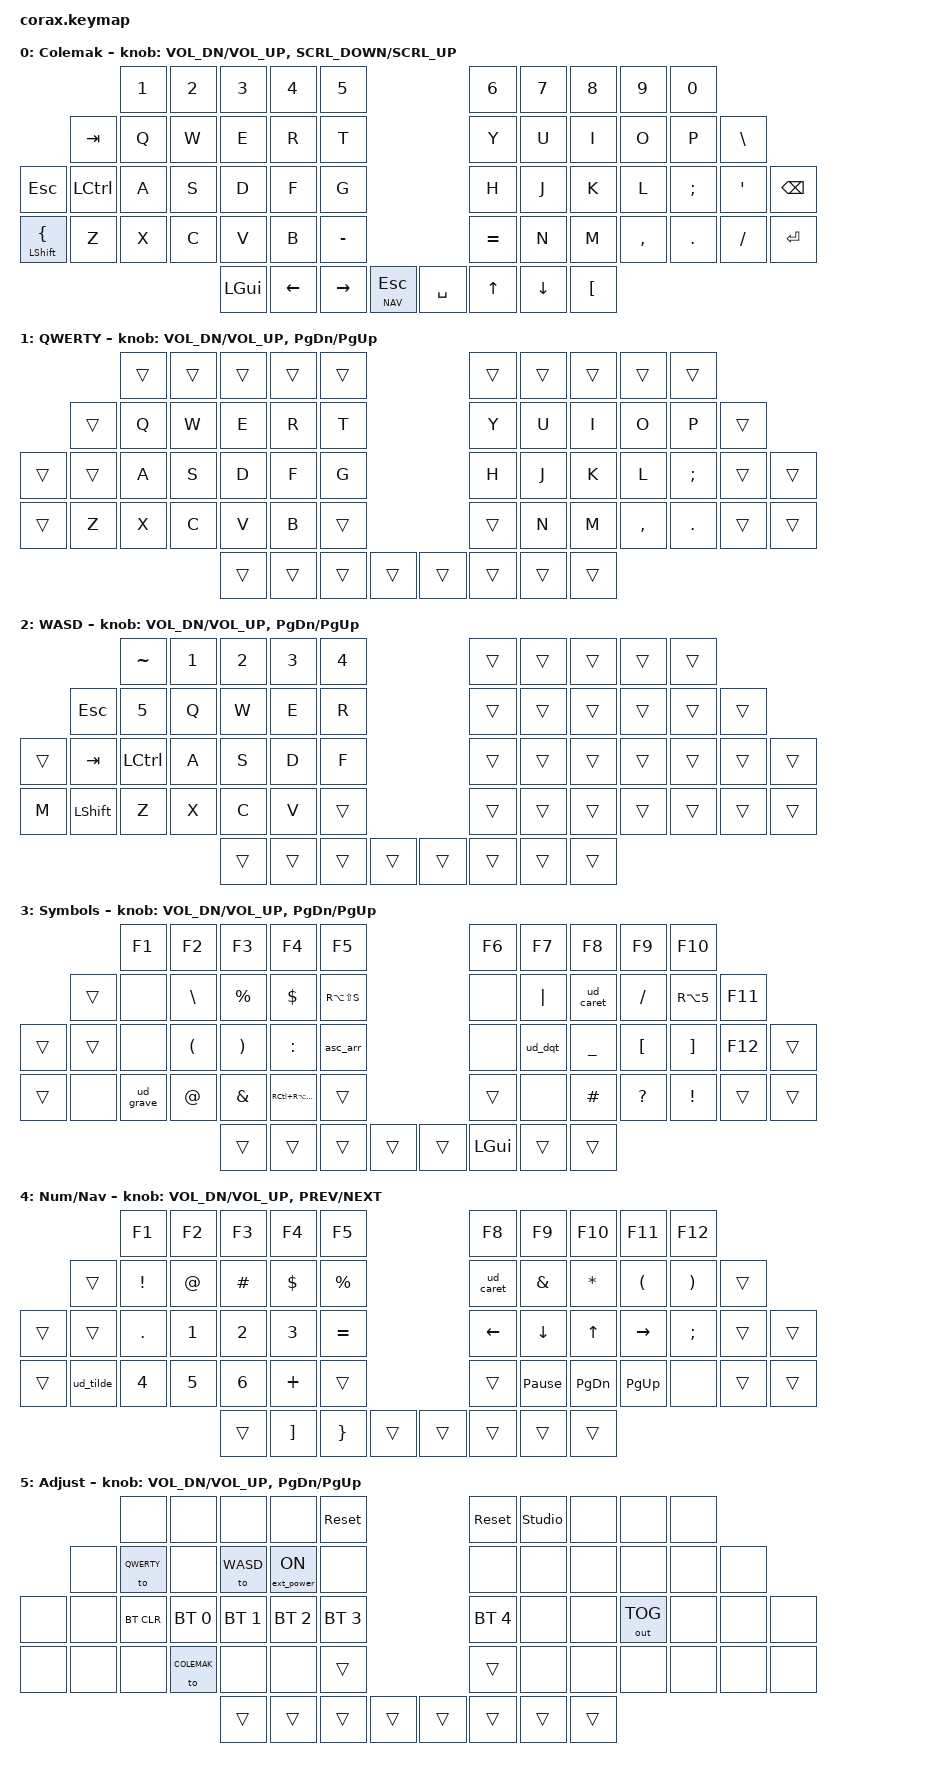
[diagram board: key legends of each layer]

#include <behaviors.dtsi>
#include <dt-bindings/zmk/bt.h>
#include <dt-bindings/zmk/keys.h>
#include <dt-bindings/zmk/outputs.h>
#include <dt-bindings/zmk/ext_power.h>

#define ZMK_POINTING_DEFAULT_SCRL_VAL 20    // default: 10
#include <dt-bindings/zmk/pointing.h>

#define COLEMAK 0
#define QWERTY 1
#define WASD 2
#define SYM 3
#define NAV 4
#define ADJUST 5

// additional caps word keys
&caps_word {
    continue-list = <UNDERSCORE MINUS LS(MINUS) UP DOWN LEFT RIGHT BSPC DEL>;
};

// mouse scroll speed
&msc {
    acceleration-exponent = <0>;
    time-to-max-speed-ms = <0>;
    delay-ms = <0>;
};

/ {

    behaviors {
        lthp: layer_tap_hold_preferred {
            compatible = "zmk,behavior-hold-tap";
            #binding-cells = <2>;
            flavor = "hold-preferred";
            tapping-term-ms = <200>;
            bindings = <&mo>, <&kp>;
        };

        mthp: mod_tap_hold_preferred {
            compatible = "zmk,behavior-hold-tap";
            #binding-cells = <2>;
            flavor = "hold-preferred";
            tapping-term-ms = <200>;
            bindings = <&kp>, <&kp>;
        };

        inc_dec_msc: sensor_rotation_scroll {
            compatible = "zmk,behavior-sensor-rotate-var";
            #sensor-binding-cells = <2>;
            bindings = <&msc>, <&msc>;
            tap-ms = <200>;
        };
    };

    macros {
        // undead `
        ud_grave: ud_grave {
            compatible = "zmk,behavior-macro";
            #binding-cells = <0>;
            wait-ms = <10>;
            tap-ms = <10>;
            bindings = <&kp GRAVE &kp SPACE>;
        };

        // undead ~
        ud_tilde: ud_tilde {
            compatible = "zmk,behavior-macro";
            #binding-cells = <0>;
            wait-ms = <10>;
            tap-ms = <10>;
            bindings = <&kp TILDE &kp SPACE>;
        };

        // undead ^
        ud_caret: ud_caret {
            compatible = "zmk,behavior-macro";
            #binding-cells = <0>;
            wait-ms = <10>;
            tap-ms = <10>;
            bindings = <&kp CARET &kp SPACE>;
        };

        // undead '
        ud_sqt: ud_sqt {
            compatible = "zmk,behavior-macro";
            #binding-cells = <0>;
            wait-ms = <10>;
            tap-ms = <10>;
            bindings = <&kp SQT &kp SPACE>;
        };

        // undead "
        ud_dqt: ud_dqt {
            compatible = "zmk,behavior-macro";
            #binding-cells = <0>;
            wait-ms = <10>;
            tap-ms = <10>;
            bindings = <&kp LS(SQT) &kp SPACE>;
        };

        // ascii arrow ->
        asc_arr: asc_arr {
            compatible = "zmk,behavior-macro";
            #binding-cells = <0>;
            wait-ms = <10>;
            tap-ms = <10>;
            bindings = <&kp MINUS &kp LS(DOT)>;
        };

        // ctrl + shift
        ctrl_shft: ctrl_shft {
            compatible = "zmk,behavior-macro";
            #binding-cells = <0>;
            bindings = <&macro_press &kp LCTRL &kp LSHFT>
            , <&macro_pause_for_release>
            , <&macro_release &kp LCTRL &kp LSHFT>
            ;
        };

    };

    combos {
        compatible = "zmk,combos";

        gm_capsword {
            bindings = <&caps_word>;
            // caps on G+M
            key-positions = <28 29>;
        };

        sticky_adjust {
            bindings = <&sl ADJUST>;
            // sticky adjust layer on LALT+RALT
            key-positions = <51 56>;
        };
    };

    keymap {
        compatible = "zmk,keymap";

        colemak_layer {
            display-name = "Colemak";
            bindings = <
                         &kp N1  &kp N2  &kp N3    &kp N4    &kp N5                                &kp N6       &kp N7    &kp N8     &kp N9   &kp N0
         &kp TAB         &kp Q   &kp W   &kp E     &kp R     &kp T                                 &kp Y        &kp U     &kp I      &kp O    &kp P      &kp BSLH
&kp ESC  &kp LCTRL       &kp A   &kp S   &kp D     &kp F     &kp G                                 &kp H        &kp J     &kp K      &kp L    &kp SEMI   &kp APOS         &kp BSPC
         &mt LSHFT LBRC  &kp Z   &kp X   &kp C     &kp V     &kp B         &kp MINUS    &kp EQUAL  &kp N	&kp M     &kp COMMA  &kp DOT  &kp FSLH   &kp ENTER
                                         &kp LGUI  &kp LEFT  &kp RIGHT     &lt NAV ESC  &kp SPACE  &kp UP       &kp DOWN  &kp LBKT
            >;

            sensor-bindings = <&inc_dec_kp C_VOL_DN C_VOL_UP &inc_dec_msc SCRL_DOWN SCRL_UP>;
        };

        qwerty_layer {
            display-name = "QWERTY";
            bindings = <
                &trans &trans  &trans  &trans  &trans                  &trans  &trans  &trans     &trans   &trans
        &trans  &kp Q  &kp W   &kp E   &kp R   &kp T                   &kp Y   &kp U   &kp I      &kp O    &kp P     &trans
&trans  &trans  &kp A  &kp S   &kp D   &kp F   &kp G                   &kp H   &kp J   &kp K      &kp L    &kp SEMI  &trans  &trans
        &trans  &kp Z  &kp X   &kp C   &kp V   &kp B   &trans  &trans  &kp N   &kp M   &kp COMMA  &kp DOT  &trans    &trans
                               &trans  &trans  &trans  &trans  &trans  &trans  &trans  &trans
            >;

            sensor-bindings = <&inc_dec_kp C_VOL_DN C_VOL_UP &inc_dec_kp PG_DN PG_UP>;
        };

        gaming_layer {
            display-name = "WASD";
            bindings = <
                   &kp TILDE  &kp N1  &kp N2  &kp N3  &kp N4                  &trans  &trans  &trans  &trans  &trans
        &kp ESC    &kp N5     &kp Q   &kp W   &kp E   &kp R                   &trans  &trans  &trans  &trans  &trans  &trans
&trans  &kp TAB    &kp LCTRL  &kp A   &kp S   &kp D   &kp F                   &trans  &trans  &trans  &trans  &trans  &trans  &trans
        &kp M      &kp LSHIFT &kp Z   &kp X   &kp C   &kp V   &trans  &trans  &trans  &trans  &trans  &trans  &trans  &trans
                                      &trans  &trans  &trans  &trans  &trans  &trans  &trans  &trans
            >;

            sensor-bindings = <&inc_dec_kp C_VOL_DN C_VOL_UP &inc_dec_kp PG_DN PG_UP>;
        };

        // left mod
        sym_layer {
            display-name = "Symbols";
            bindings = <
                &kp F1  &kp F2     &kp F3     &kp F4     &kp F5                           &kp F6      &kp F7    &kp F8     &kp F9     &kp F10
        &trans  &none   &kp BSLH   &kp PRCNT  &kp DLLR   &kp RA(LS(S))                    &none       &kp PIPE  &ud_caret  &kp SLASH  &kp RA(N5)  &kp F11
&trans  &trans  &none   &kp LPAR   &kp RPAR   &kp COLON  &asc_arr                         &none       &ud_dqt   &kp UNDER  &kp LBKT   &kp RBKT    &kp F12  &trans
        &trans  &none   &ud_grave  &kp AT     &kp AMPS   &kp RC(RA(F14))  &trans  &trans  &none       &kp HASH  &kp QMARK  &kp EXCL   &trans      &trans
                                   &trans     &trans     &trans           &trans  &trans  &kp LGUI    &trans    &trans
            >;

            sensor-bindings = <&inc_dec_kp C_VOL_DN C_VOL_UP &inc_dec_kp PG_DN PG_UP>;
        };

        // right mod
        nav_layer {
            display-name = "Num/Nav";
            bindings = <
                &kp F1     &kp F2  &kp F3    &kp F4         &kp F5                         &kp F8           &kp F9     &kp F10    &kp F11    &kp F12
        &trans  &kp EXCL   &kp AT  &kp HASH  &kp DLLR       &kp PRCNT                      &ud_caret        &kp AMPS   &kp ASTRK  &kp LPAR   &kp RPAR  &trans
&trans  &trans  &kp DOT    &kp N1  &kp N2    &kp N3         &kp EQUAL                      &kp LEFT         &kp DOWN   &kp UP     &kp RIGHT  &kp SEMI  &trans  &trans
        &trans  &ud_tilde  &kp N4  &kp N5    &kp N6         &kp PLUS       &trans  &trans  &kp PAUSE_BREAK  &kp PG_DN  &kp PG_UP  &none      &trans    &trans
                                   &trans    &kp RBKT       &kp RBRC       &trans  &trans  &trans           &trans     &trans
            >;
            
            sensor-bindings = <&inc_dec_kp C_VOL_DN C_VOL_UP &inc_dec_kp C_PREV C_NEXT>;
        };

        adjust_layer {
            display-name = "Adjust";
            bindings = <
              &none       &none         &none         &none              &sys_reset                    &sys_reset   &studio_unlock  &none       &none         &none
       &none  &to QWERTY  &none         &to WASD      &ext_power EP_ON  &none                         &none        &none       &none       &none         &none  &none
&none  &none  &bt BT_CLR  &bt BT_SEL 0  &bt BT_SEL 1  &bt BT_SEL 2       &bt BT_SEL 3                  &bt BT_SEL 4 &none       &none       &out OUT_TOG  &none  &none  &none
       &none  &none       &none         &to COLEMAK   &none              &none         &trans  &trans  &none        &none       &none       &none         &none  &none
                                        &trans        &trans             &trans        &trans  &trans  &trans       &trans      &trans
            >;

            sensor-bindings = <&inc_dec_kp C_VOL_DN C_VOL_UP &inc_dec_kp PG_DN PG_UP>;
        };

		// reserved extra layer for zmk studio
		extra1 {
            status = "reserved";
        };
    };
};
